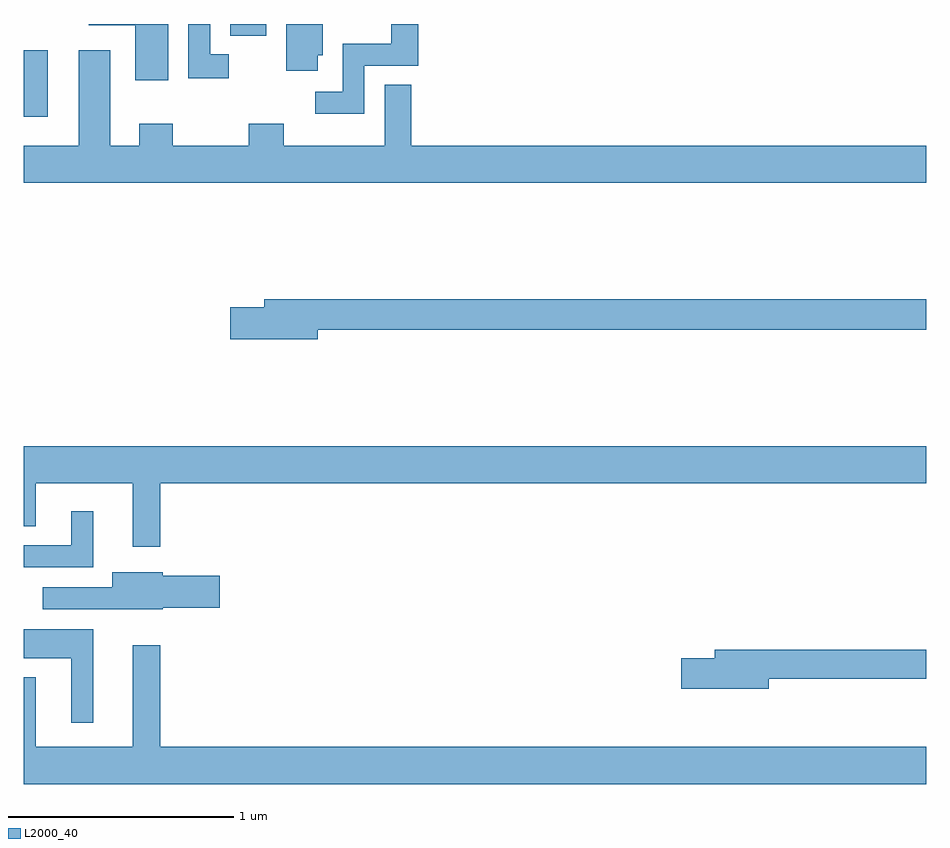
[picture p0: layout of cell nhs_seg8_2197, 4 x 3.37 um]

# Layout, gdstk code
import gdstk
lib = gdstk.Library(unit=1e-6, precision=1e-09)
def R(c, l, rs):  # rectangles x0, y0, x1, y1
    for r in rs: c.add(gdstk.rectangle(r[:2], r[2:], *l))
def P(c, l, *ps):  # polygons
    for p in ps: c.add(gdstk.Polygon(p, *l))
L2000_40 = (2000, 40)

nhs_seg8_2197 = lib.new_cell('nhs_seg8_2197')
R(nhs_seg8_2197, L2000_40, [(251,1087.488,251.107,1087.783), (251.915,1087.848,252.076,1087.9)])
P(nhs_seg8_2197, L2000_40, [(252.304,1087.761),(252.325,1087.761),(252.325,1087.9),(252.164,1087.9),(252.164,1087.692),(252.304,1087.692)],
  [(252.51,1087.716),(252.748,1087.716),(252.748,1087.9),(252.629,1087.9),(252.629,1087.812),(252.414,1087.812),(252.414,1087.599),(252.291,1087.599),(252.291,1087.502),(252.51,1087.502)],
  [(251.641,1087.9),(251.288,1087.9),(251.288,1087.895),(251.495,1087.895),(251.495,1087.65),(251.641,1087.65)],
  [(251.908,1087.767),(251.826,1087.767),(251.826,1087.9),(251.73,1087.9),(251.73,1087.659),(251.908,1087.659)],
  [(255,1087.36),(252.718,1087.36),(252.718,1087.631),(252.599,1087.631),(252.599,1087.36),(252.153,1087.36),(252.153,1087.459),(251.998,1087.459),(251.998,1087.36),(251.661,1087.36),(251.661,1087.459),(251.513,1087.459),(251.513,1087.36),(251.383,1087.36),(251.383,1087.783),(251.243,1087.783),(251.243,1087.36),(251,1087.36),(251,1087.196),(255,1087.196)],
  [(252.304,1086.544),(255,1086.544),(255,1086.68),(252.065,1086.68),(252.065,1086.644),(251.916,1086.644),(251.916,1086.502),(252.304,1086.502)],
  [(251.605,1085.864),(255,1085.864),(255,1086.028),(251,1086.028),(251,1085.674),(251.053,1085.674),(251.053,1085.864),(251.483,1085.864),(251.483,1085.583),(251.605,1085.583)],
  [(251.308,1085.74),(251.21,1085.74),(251.21,1085.589),(251,1085.589),(251,1085.493),(251.308,1085.493)],
  [(251.616,1085.312),(251.869,1085.312),(251.869,1085.454),(251.616,1085.454),(251.616,1085.47),(251.393,1085.47),(251.393,1085.403),(251.085,1085.403),(251.085,1085.307),(251.397,1085.307),(251.397,1085.306),(251.616,1085.306)],
  [(251.308,1085.218),(251,1085.218),(251,1085.09),(251.21,1085.09),(251.21,1084.803),(251.308,1084.803)],
  [(255,1084.696),(251.605,1084.696),(251.605,1085.146),(251.483,1085.146),(251.483,1084.696),(251.053,1084.696),(251.053,1085.005),(251,1085.005),(251,1084.532),(255,1084.532)],
  [(254.302,1084.998),(255,1084.998),(255,1085.126),(254.063,1085.126),(254.063,1085.09),(253.914,1085.09),(253.914,1084.955),(254.302,1084.955)])

lib.write_gds('nhs_seg8_2197.gds')
